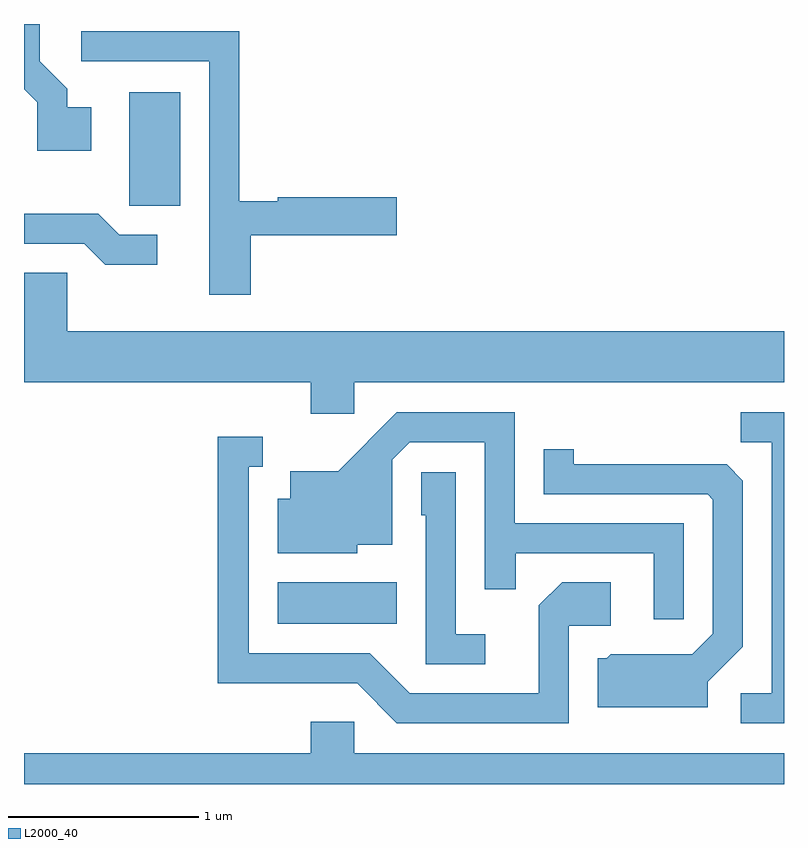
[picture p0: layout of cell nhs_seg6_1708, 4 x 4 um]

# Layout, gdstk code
import gdstk
lib = gdstk.Library(unit=1e-6, precision=1e-09)
def R(c, l, rs):  # rectangles x0, y0, x1, y1
    for r in rs: c.add(gdstk.rectangle(r[:2], r[2:], *l))
def P(c, l, *ps):  # polygons
    for p in ps: c.add(gdstk.Polygon(p, *l))
L2000_40 = (2000, 40)

nhs_seg6_1708 = lib.new_cell('nhs_seg6_1708')
R(nhs_seg6_1708, L2000_40, [(238.946,1531.006,239.574,1531.224), (238.166,1533.206,238.434,1533.804)])
P(nhs_seg6_1708, L2000_40, [(237.964,1533.724),(237.839,1533.724),(237.839,1533.822),(237.694,1533.967),(237.694,1534.162),(237.611,1534.162),(237.611,1533.819),(237.681,1533.749),(237.681,1533.496),(237.964,1533.496)],
  [(238.804,1533.051),(239.574,1533.051),(239.574,1533.249),(238.946,1533.249),(238.946,1533.229),(238.744,1533.229),(238.744,1534.124),(237.913,1534.124),(237.913,1533.966),(238.586,1533.966),(238.586,1532.736),(238.804,1532.736)],
  [(238.313,1533.054),(238.112,1533.054),(238.002,1533.164),(237.611,1533.164),(237.611,1533.006),(237.929,1533.006),(238.039,1532.896),(238.313,1532.896)],
  [(239.349,1532.276),(241.611,1532.276),(241.611,1532.544),(237.839,1532.544),(237.839,1532.854),(237.611,1532.854),(237.611,1532.276),(239.121,1532.276),(239.121,1532.111),(239.349,1532.111)],
  [(241.084,1531.534),(240.194,1531.534),(240.194,1532.119),(239.574,1532.119),(239.264,1531.809),(239.011,1531.809),(239.011,1531.664),(238.946,1531.664),(238.946,1531.376),(239.364,1531.376),(239.364,1531.421),(239.549,1531.421),(239.549,1531.869),(239.642,1531.961),(240.036,1531.961),(240.036,1531.188),(240.199,1531.188),(240.199,1531.376),(240.926,1531.376),(240.926,1531.028),(241.084,1531.028)],
  [(241.611,1532.119),(241.383,1532.119),(241.383,1531.961),(241.546,1531.961),(241.546,1530.639),(241.383,1530.639),(241.383,1530.481),(241.611,1530.481)],
  [(240.479,1530.996),(240.699,1530.996),(240.699,1531.224),(240.444,1531.224),(240.321,1531.102),(240.321,1530.639),(239.642,1530.639),(239.432,1530.849),(238.794,1530.849),(238.794,1531.831),(238.868,1531.831),(238.868,1531.989),(238.631,1531.989),(238.631,1530.691),(239.364,1530.691),(239.574,1530.481),(240.479,1530.481)],
  [(241.209,1530.699),(241.394,1530.884),(241.394,1531.759),(241.309,1531.844),(240.504,1531.844),(240.504,1531.923),(240.346,1531.923),(240.346,1531.686),(241.209,1531.686),(241.236,1531.659),(241.236,1530.952),(241.129,1530.844),(240.699,1530.844),(240.679,1530.824),(240.631,1530.824),(240.631,1530.566),(241.209,1530.566)],
  [(240.038,1530.949),(239.884,1530.949),(239.884,1531.804),(239.701,1531.804),(239.701,1531.576),(239.726,1531.576),(239.726,1530.791),(240.038,1530.791)],
  [(241.611,1530.324),(239.349,1530.324),(239.349,1530.489),(239.121,1530.489),(239.121,1530.324),(237.611,1530.324),(237.611,1530.162),(241.611,1530.162)])

lib.write_gds('nhs_seg6_1708.gds')
